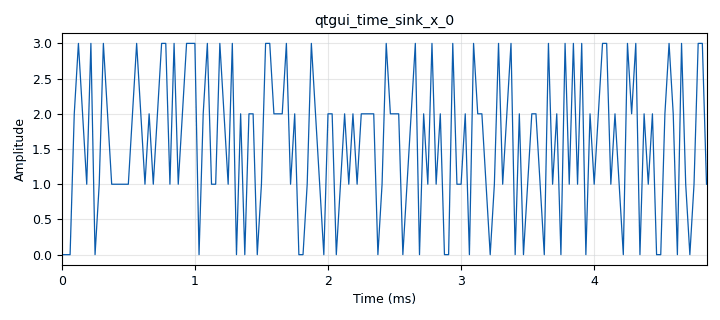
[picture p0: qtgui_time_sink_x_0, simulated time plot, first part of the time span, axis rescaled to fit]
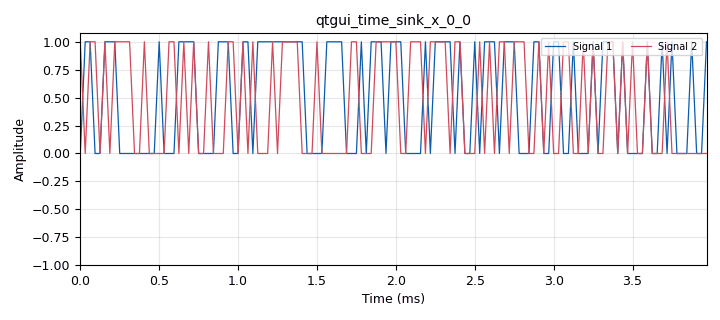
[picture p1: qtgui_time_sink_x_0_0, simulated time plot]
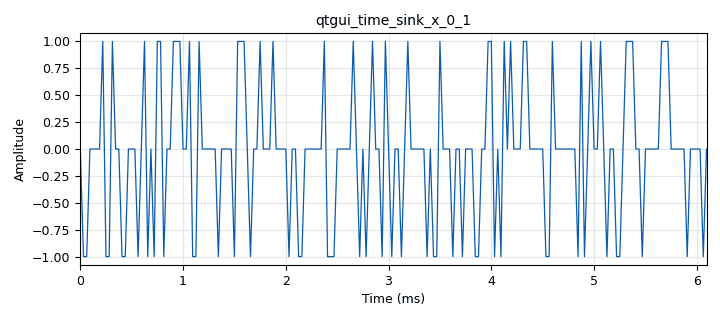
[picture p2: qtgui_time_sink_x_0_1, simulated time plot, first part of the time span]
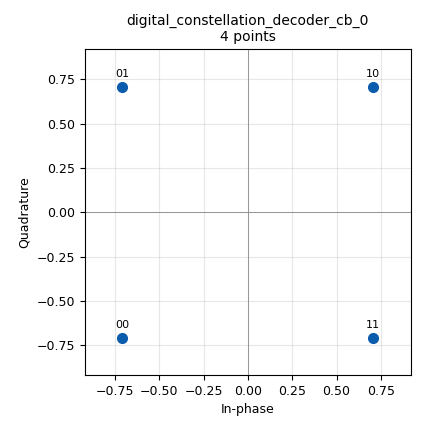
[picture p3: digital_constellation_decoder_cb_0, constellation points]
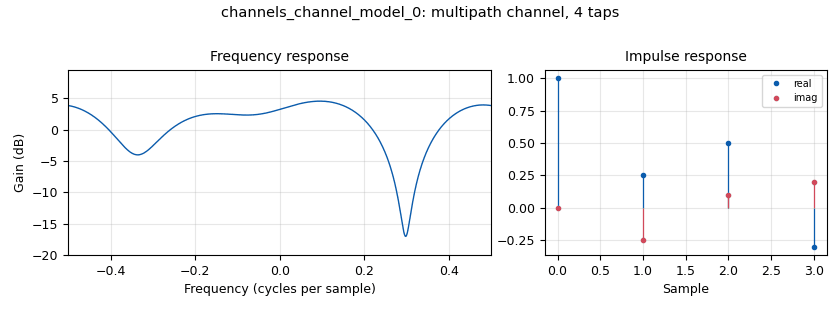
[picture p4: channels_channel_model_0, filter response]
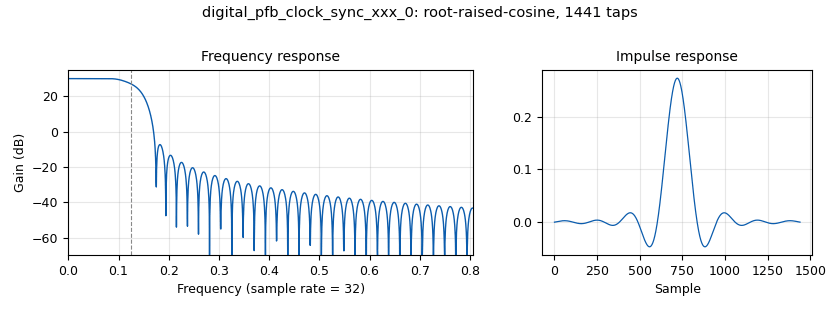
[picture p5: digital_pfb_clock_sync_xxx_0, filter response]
options:
  parameters:
    author: engineerang
    generate_options: qt_gui
    id: mpsk_stage6
    output_language: python
    title: Not titled yet
  states: {}

blocks:
- name: arity
  id: variable
  parameters:
    value: '4'
  states: {}
- name: excess_bw
  id: variable
  parameters:
    value: '00.35'
  states: {}
- name: freq_offset
  id: variable_qtgui_range
  parameters:
    label: 'Channel: Frequency Offset'
    start: '-0.1'
    step: '0.001'
    stop: '0.1'
    value: '0'
  states: {}
- name: nfilts
  id: variable
  parameters:
    value: '32'
  states: {}
- name: noise_volt
  id: variable_qtgui_range
  parameters:
    label: 'Channel: Noise Voltage'
    start: '0'
    step: '0.01'
    stop: '1'
    value: '0.0001'
  states: {}
- name: rrc_taps
  id: variable
  parameters:
    value: firdes.root_raised_cosine(nfilts, nfilts, 1.0/float(sps), 0.35, 45*nfilts)
  states: {}
- name: samp_rate
  id: variable
  parameters:
    value: '32000'
  states: {}
- name: sps
  id: variable
  parameters:
    value: '4'
  states: {}
- name: taps
  id: variable
  parameters:
    value: '[1.0, 0.25-0.25j, 0.50 + 0.10j, -0.3 + 0.2j]'
  states: {}
- name: time_offset
  id: variable_qtgui_range
  parameters:
    label: 'Channel: Timing Offset '
    start: '0.999'
    step: '0.0001'
    stop: '1.001'
    value: '1.000'
  states: {}
- name: timing_loop_bw
  id: variable_qtgui_range
  parameters:
    label: 'Time: BW'
    start: '0'
    step: '0.01'
    stop: '0.2'
    value: '0.0628'
  states: {}
- name: variable_adaptive_algorithm_0
  id: variable_adaptive_algorithm
  parameters:
    cons: variable_constellation_rect_0
    modulus: '4'
    step_size: '0.0001'
    type: cma
  states: {}
- name: variable_constellation_rect_0
  id: variable_constellation_rect
  parameters:
    const_points: '[-0.707-0.707j, -0.707+0.707j, 0.707+0.707j, 0.707-0.707j]'
    imag_sect: '2'
    real_sect: '2'
    rot_sym: '4'
    sym_map: '[0, 1, 3, 2]'
    w_imag_sect: '1'
    w_real_sect: '1'
  states: {}
- name: analog_random_source_x_0
  id: analog_random_source_x
  parameters:
    max: '256'
    min: '0'
    num_samps: '10000'
    repeat: 'True'
    type: byte
  states: {}
- name: blocks_char_to_float_0
  id: blocks_char_to_float
  parameters:
    scale: '1'
  states: {}
- name: blocks_char_to_float_0_0
  id: blocks_char_to_float
  parameters:
    scale: '1'
  states: {}
- name: blocks_char_to_float_0_0_0
  id: blocks_char_to_float
  parameters:
    scale: '1'
  states: {}
- name: blocks_delay_0
  id: blocks_delay
  parameters:
    delay: '60'
    type: float
  states: {}
- name: blocks_sub_xx_0
  id: blocks_sub_xx
  parameters:
    type: float
  states: {}
- name: blocks_throttle_0
  id: blocks_throttle
  parameters:
    samples_per_second: samp_rate
    type: complex
  states: {}
- name: blocks_unpack_k_bits_bb_0
  id: blocks_unpack_k_bits_bb
  parameters:
    k: '2'
  states: {}
- name: blocks_unpack_k_bits_bb_0_0
  id: blocks_unpack_k_bits_bb
  parameters:
    k: '8'
  states: {}
- name: channels_channel_model_0
  id: channels_channel_model
  parameters:
    epsilon: time_offset
    freq_offset: freq_offset
    noise_voltage: noise_volt
    seed: '0'
    taps: taps
  states: {}
- name: digital_constellation_decoder_cb_0
  id: digital_constellation_decoder_cb
  parameters:
    constellation: variable_constellation_rect_0
  states: {}
- name: digital_constellation_modulator_0
  id: digital_constellation_modulator
  parameters:
    constellation: variable_constellation_rect_0
    differential: 'True'
    excess_bw: excess_bw
    samples_per_symbol: '4'
  states: {}
- name: digital_costas_loop_cc_0
  id: digital_costas_loop_cc
  parameters:
    order: '4'
    w: timing_loop_bw
  states: {}
- name: digital_diff_decoder_bb_0
  id: digital_diff_decoder_bb
  parameters:
    modulus: '4'
  states: {}
- name: digital_linear_equalizer_0
  id: digital_linear_equalizer
  parameters:
    alg: variable_adaptive_algorithm_0
    num_taps: '15'
    sps: '2'
  states: {}
- name: digital_map_bb_0
  id: digital_map_bb
  parameters:
    map: '[0,1,3,2]'
  states: {}
- name: digital_pfb_clock_sync_xxx_0
  id: digital_pfb_clock_sync_xxx
  parameters:
    filter_size: nfilts
    init_phase: '16'
    loop_bw: timing_loop_bw
    max_dev: '1.5'
    osps: '1'
    sps: '4.004'
    taps: rrc_taps
    type: ccf
  states: {}
- name: qtgui_time_sink_x_0
  id: qtgui_time_sink_x
  parameters:
    size: '512'
    srate: samp_rate
    type: float
  states: {}
- name: qtgui_time_sink_x_0_0
  id: qtgui_time_sink_x
  parameters:
    nconnections: '2'
    size: '128'
    srate: samp_rate
    type: float
  states: {}
- name: qtgui_time_sink_x_0_1
  id: qtgui_time_sink_x
  parameters:
    size: '512'
    srate: samp_rate
    type: float
  states: {}

connections:
- [analog_random_source_x_0, '0', blocks_unpack_k_bits_bb_0_0, '0']
- [analog_random_source_x_0, '0', digital_constellation_modulator_0, '0']
- [blocks_char_to_float_0, '0', blocks_sub_xx_0, '0']
- [blocks_char_to_float_0, '0', qtgui_time_sink_x_0_0, '0']
- [blocks_char_to_float_0_0, '0', qtgui_time_sink_x_0, '0']
- [blocks_char_to_float_0_0_0, '0', blocks_delay_0, '0']
- [blocks_delay_0, '0', blocks_sub_xx_0, '1']
- [blocks_delay_0, '0', qtgui_time_sink_x_0_0, '1']
- [blocks_sub_xx_0, '0', qtgui_time_sink_x_0_1, '0']
- [blocks_throttle_0, '0', channels_channel_model_0, '0']
- [blocks_unpack_k_bits_bb_0, '0', blocks_char_to_float_0, '0']
- [blocks_unpack_k_bits_bb_0_0, '0', blocks_char_to_float_0_0_0, '0']
- [channels_channel_model_0, '0', digital_pfb_clock_sync_xxx_0, '0']
- [digital_constellation_decoder_cb_0, '0', blocks_char_to_float_0_0, '0']
- [digital_constellation_decoder_cb_0, '0', digital_diff_decoder_bb_0, '0']
- [digital_constellation_modulator_0, '0', blocks_throttle_0, '0']
- [digital_costas_loop_cc_0, '0', digital_constellation_decoder_cb_0, '0']
- [digital_diff_decoder_bb_0, '0', digital_map_bb_0, '0']
- [digital_linear_equalizer_0, '0', digital_costas_loop_cc_0, '0']
- [digital_map_bb_0, '0', blocks_unpack_k_bits_bb_0, '0']
- [digital_pfb_clock_sync_xxx_0, '0', digital_linear_equalizer_0, '0']

metadata:
  file_format: 1
